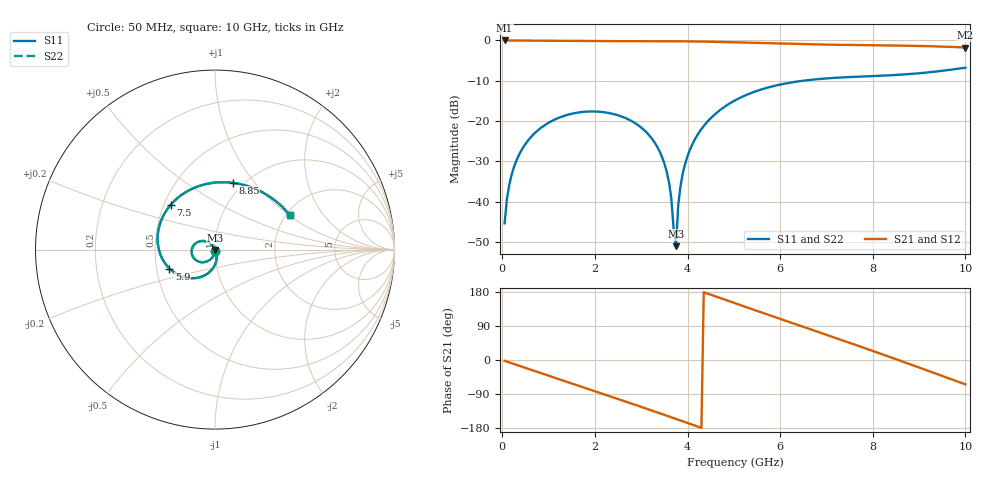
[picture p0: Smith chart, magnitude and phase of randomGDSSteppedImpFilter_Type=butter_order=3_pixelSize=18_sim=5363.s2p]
! freq	dB(S11)	phase(S11)	dB(S12)	phase(S12)
!  dB(S21)	phase(S21)	dB(S22)	phase(S22)
!S-par simulation data
#  GHz  S  DB  R 50
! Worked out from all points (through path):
!   200 points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, 50 MHz to 10 GHz, reference 50 ohm
!   highest |S21| = 0.00 dB at 50 MHz (marker M1); lowest = -1.8 dB at 10 GHz (marker M2)
!   group delay of S21, straight-line fit = 118 ps
!   lowest |S11| = -51.1 dB at 3.75 GHz (marker M3), VSWR 1.01, Z = 50.2 - j0.148 ohm
!   |S11| at or under -10 dB: start of sweep to 6.496 GHz
!   |S22| runs from -51.0 to -6.8 dB; largest |S21 - S12| = 0
!   S11 on the Smith chart (normalised r, x): 50 MHz: 1.00, -0.01; 5.9 GHz: 0.58, -0.13; 7.5 GHz: 0.54, +0.31; 8.85 GHz: 0.89, +0.78; 10 GHz: 2.09, +1.02
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0.05  -45.40 -91.7  -0.00 -2.1  -0.00 -2.1  -45.40 -91.7
0.1  -39.39 -94.1  -0.01 -4.2  -0.01 -4.2  -39.39 -94.1
0.2  -33.41 -98.5  -0.01 -8.4  -0.01 -8.4  -33.41 -98.5
0.5  -25.70 -111.4  -0.04 -20.8  -0.04 -20.8  -25.70 -111.4
1.05  -20.11 -134.5  -0.09 -43.5  -0.09 -43.5  -20.11 -134.5
1.75  -17.73 -163.4  -0.15 -72.2  -0.15 -72.2  -17.73 -163.4
2.75  -19.75 155.1  -0.18 -113.3  -0.18 -113.3  -19.75 155.1
3.15  -23.26 138.0  -0.18 -130.0  -0.18 -130.0  -23.26 138.0
3.4  -27.62 126.6  -0.18 -140.6  -0.18 -140.6  -27.63 126.6
3.6  -35.25 115.0  -0.19 -149.1  -0.19 -149.1  -35.26 115.0
3.75  -51.08 -31.7  -0.20 -155.5  -0.20 -155.5  -51.03 -31.6
3.8  -40.77 -58.2  -0.21 -157.6  -0.21 -157.6  -40.76 -58.2
3.85  -35.98 -64.6  -0.21 -159.8  -0.21 -159.8  -35.98 -64.6
4.05  -27.19 -76.9  -0.23 -168.3  -0.23 -168.3  -27.19 -76.8
4.45  -19.91 -95.2  -0.31 174.5  -0.31 174.5  -19.91 -95.2
5.05  -14.73 -121.3  -0.47 148.7  -0.47 148.7  -14.73 -121.3
5.9  -11.21 -157.5  -0.75 112.7  -0.75 112.7  -11.21 -157.5
6.7  -9.73 168.7  -0.98 79.1  -0.98 79.1  -9.73 168.7
7.5  -9.09 134.5  -1.12 45.3  -1.12 45.3  -9.09 134.5
8.35  -8.66 97.4  -1.24 8.7  -1.24 8.7  -8.66 97.4
8.85  -8.29 75.3  -1.33 -13.2  -1.33 -13.2  -8.29 75.3
10  -6.77 24.7  -1.75 -64.3  -1.75 -64.3  -6.77 24.8
